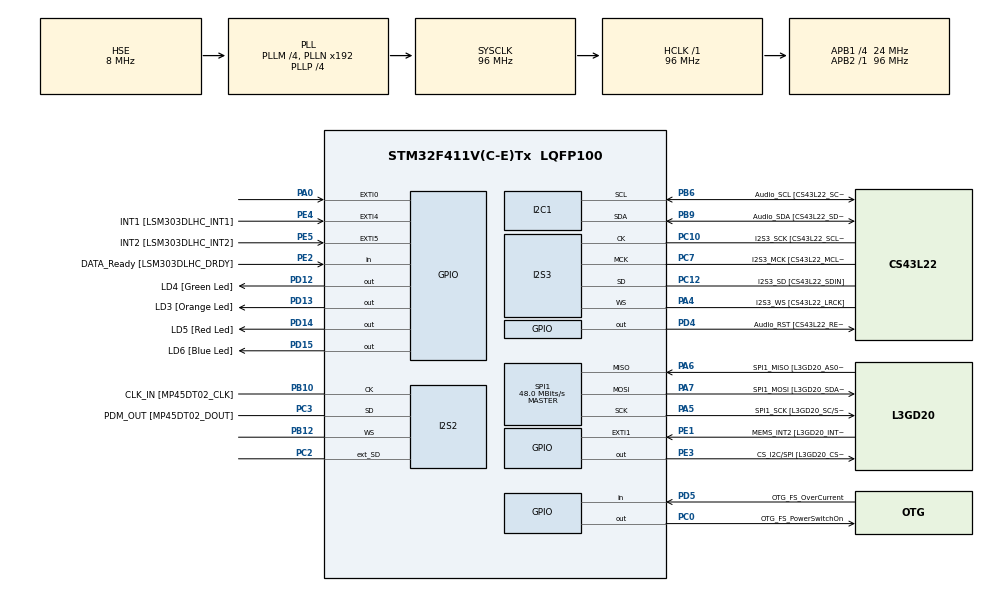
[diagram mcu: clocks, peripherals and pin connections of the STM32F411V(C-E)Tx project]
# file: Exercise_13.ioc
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FREERTOS.Tasks01=GreenTask,0,128,StartGreenTask,Default,NULL,Dynamic,NULL,NULL;RedTask,0,128,StartRedTask,Default,NULL,Dynamic,NULL,NULL;BlueTask,0,128,StartBlueTask,Default,NULL,Dynamic,NULL,NULL
I2S2.AudioFreq=I2S_AUDIOFREQ_96K
I2S2.ErrorAudioFreq=0.15 %
I2S2.FullDuplexMode=I2S_FULLDUPLEXMODE_ENABLE
I2S2.Instance=SPI$Index
I2S2.RealAudioFreq=96.153 KHz
I2S2.VirtualMode=I2S_MODE_MASTER
I2S3.AudioFreq=I2S_AUDIOFREQ_96K
I2S3.ErrorAudioFreq=-6.99 %
I2S3.FullDuplexMode=I2S_FULLDUPLEXMODE_DISABLE
I2S3.Instance=SPI$Index
I2S3.RealAudioFreq=89.285 KHz
I2S3.VirtualMode=I2S_MODE_MASTER
Mcu.Family=STM32F4
Mcu.Name=STM32F411V(C-E)Tx
Mcu.Package=LQFP100
NVIC.PriorityGroup=NVIC_PRIORITYGROUP_4
NVIC.TIM1_UP_TIM10_IRQn=true\:0\:0\:false\:false\:true\:false\:false\:true
NVIC.TimeBase=TIM1_UP_TIM10_IRQn
NVIC.TimeBaseIP=TIM1
PA0-WKUP.GPIO_ModeDefaultEXTI=GPIO_MODE_EVT_RISING
PA0-WKUP.Signal=GPXTI0
PA10.GPIO_Label=OTG_FS_ID
PA10.Signal=USB_OTG_FS_ID
PA11.GPIO_Label=OTG_FS_DM
PA11.Signal=USB_OTG_FS_DM
PA12.GPIO_Label=OTG_FS_DP
PA12.Signal=USB_OTG_FS_DP
PA13.GPIO_Label=SWDIO
PA13.Mode=Serial_Wire
PA13.Signal=SYS_JTMS-SWDIO
PA14.GPIO_Label=SWCLK
PA14.Mode=Serial_Wire
PA14.Signal=SYS_JTCK-SWCLK
PA4.GPIO_Label=I2S3_WS [CS43L22_LRCK]
PA4.GPIO_Mode=GPIO_MODE_AF_PP
PA4.GPIO_PuPd=GPIO_NOPULL
PA4.GPIO_Speed=GPIO_SPEED_FREQ_LOW
PA4.Mode=Half_Duplex_Master
PA4.Signal=I2S3_WS
PA5.GPIO_Label=SPI1_SCK [L3GD20_SC/SPC]
PA5.Mode=Full_Duplex_Master
PA5.Signal=SPI1_SCK
PA6.GPIO_Label=SPI1_MISO [L3GD20_AS0/SDO]
PA6.Mode=Full_Duplex_Master
PA6.Signal=SPI1_MISO
PA7.GPIO_Label=SPI1_MOSI [L3GD20_SDA/SDI/SDO]
PA7.Mode=Full_Duplex_Master
PA7.Signal=SPI1_MOSI
PA9.GPIO_Label=VBUS_FS
PA9.Signal=USB_OTG_FS_VBUS
PB10.GPIO_Label=CLK_IN [MP45DT02_CLK]
PB10.Mode=Full_Duplex_Master
PB10.Signal=I2S2_CK
PB12.Mode=Full_Duplex_Master
PB12.Signal=I2S2_WS
PB3.GPIO_Label=SWO
PB3.Signal=SYS_JTDO-SWO
PB6.GPIO_Label=Audio_SCL [CS43L22_SCL]
PB6.GPIO_Mode=GPIO_MODE_AF_OD
PB6.GPIO_PuPd=GPIO_NOPULL
PB6.GPIO_Speed=GPIO_SPEED_FREQ_LOW
PB6.Mode=I2C
PB6.Signal=I2C1_SCL
PB9.GPIO_Label=Audio_SDA [CS43L22_SDA]
PB9.GPIO_Mode=GPIO_MODE_AF_OD
PB9.GPIO_PuPd=GPIO_NOPULL
PB9.GPIO_Speed=GPIO_SPEED_FREQ_LOW
PB9.Mode=I2C
PB9.Signal=I2C1_SDA
PC0.GPIO_Label=OTG_FS_PowerSwitchOn
PC0.PinState=GPIO_PIN_SET
PC0.Signal=GPIO_Output
PC10.GPIO_Label=I2S3_SCK [CS43L22_SCLK]
PC10.GPIO_Mode=GPIO_MODE_AF_PP
PC10.GPIO_PuPd=GPIO_NOPULL
PC10.GPIO_Speed=GPIO_SPEED_FREQ_LOW
PC10.Mode=Half_Duplex_Master
PC10.Signal=I2S3_CK
PC12.GPIO_Label=I2S3_SD [CS43L22_SDIN]
PC12.GPIO_Mode=GPIO_MODE_AF_PP
PC12.GPIO_PuPd=GPIO_NOPULL
PC12.GPIO_Speed=GPIO_SPEED_FREQ_LOW
PC12.Mode=Half_Duplex_Master
PC12.Signal=I2S3_SD
PC14-OSC32_IN.GPIO_Label=PC14-OSC32_IN
PC14-OSC32_IN.Mode=LSE-External-Oscillator
PC14-OSC32_IN.Signal=RCC_OSC32_IN
PC15-OSC32_OUT.GPIO_Label=PC15-OSC32_OUT
PC15-OSC32_OUT.Mode=LSE-External-Oscillator
PC15-OSC32_OUT.Signal=RCC_OSC32_OUT
PC2.Mode=Full_Duplex_Master
PC2.Signal=I2S2_ext_SD
PC3.GPIO_Label=PDM_OUT [MP45DT02_DOUT]
PC3.Mode=Full_Duplex_Master
PC3.Signal=I2S2_SD
PC7.GPIO_Label=I2S3_MCK [CS43L22_MCLK]
PC7.GPIO_Mode=GPIO_MODE_AF_PP
PC7.GPIO_PuPd=GPIO_NOPULL
PC7.GPIO_Speed=GPIO_SPEED_FREQ_LOW
PC7.Mode=Master_Clock_Activated
PC7.Signal=I2S3_MCK
PD12.GPIO_Label=LD4 [Green Led]
PD12.GPIO_PuPd=GPIO_NOPULL
PD12.GPIO_Speed=GPIO_SPEED_FREQ_LOW
PD12.Signal=GPIO_Output
PD13.GPIO_Label=LD3 [Orange Led]
PD13.GPIO_PuPd=GPIO_NOPULL
PD13.GPIO_Speed=GPIO_SPEED_FREQ_LOW
PD13.Signal=GPIO_Output
PD14.GPIO_Label=LD5 [Red Led]
PD14.GPIO_PuPd=GPIO_NOPULL
PD14.GPIO_Speed=GPIO_SPEED_FREQ_LOW
PD14.Signal=GPIO_Output
PD15.GPIO_Label=LD6 [Blue Led]
PD15.GPIO_PuPd=GPIO_NOPULL
PD15.GPIO_Speed=GPIO_SPEED_FREQ_LOW
PD15.Signal=GPIO_Output
PD4.GPIO_Label=Audio_RST [CS43L22_RESET]
PD4.Signal=GPIO_Output
PD5.GPIO_Label=OTG_FS_OverCurrent
PD5.Signal=GPIO_Input
PE1.GPIO_Label=MEMS_INT2 [L3GD20_INT2]
PE1.GPIO_ModeDefaultEXTI=GPIO_MODE_EVT_RISING
PE1.Signal=GPXTI1
PE2.GPIO_Label=DATA_Ready [LSM303DLHC_DRDY]
PE2.Signal=GPIO_Input
PE3.GPIO_Label=CS_I2C/SPI [L3GD20_CS_I2C/SPI]
PE3.Signal=GPIO_Output
PE4.GPIO_Label=INT1 [LSM303DLHC_INT1]
PE4.GPIO_ModeDefaultEXTI=GPIO_MODE_EVT_RISING
PE4.Signal=GPXTI4
PE5.GPIO_Label=INT2 [LSM303DLHC_INT2]
PE5.GPIO_ModeDefaultEXTI=GPIO_MODE_EVT_RISING
PE5.Signal=GPXTI5
PH0\ -\ OSC_IN.GPIO_Label=PH0-OSC_IN
PH0\ -\ OSC_IN.Mode=HSE-External-Clock-Source
PH0\ -\ OSC_IN.Signal=RCC_OSC_IN
PH1\ -\ OSC_OUT.GPIO_Label=PH1-OSC_OUT
PH1\ -\ OSC_OUT.Mode=HSE-External-Clock-Source
PH1\ -\ OSC_OUT.Signal=RCC_OSC_OUT
ProjectManager.HeapSize=0x200
ProjectManager.StackSize=0x400
ProjectManager.TargetToolchain=STM32CubeIDE
RCC.48MHZClocksFreq_Value=48000000
RCC.AHBFreq_Value=96000000
RCC.APB1CLKDivider=RCC_HCLK_DIV4
RCC.APB1Freq_Value=24000000
RCC.APB1TimFreq_Value=48000000
RCC.APB2Freq_Value=96000000
RCC.APB2TimFreq_Value=96000000
RCC.CortexFreq_Value=96000000
RCC.HCLKFreq_Value=96000000
RCC.HSE_VALUE=8000000
RCC.HSI_VALUE=16000000
RCC.PLLI2SM=5
RCC.PLLI2SN=200
RCC.PLLM=4
RCC.PLLP=RCC_PLLP_DIV4
RCC.PLLQ=8
RCC.PLLSourceVirtual=RCC_PLLSOURCE_HSE
RCC.SYSCLKFreq_VALUE=96000000
RCC.SYSCLKSource=RCC_SYSCLKSOURCE_PLLCLK
RCC.VCOOutputFreq_Value=384000000
SPI1.BaudRatePrescaler=SPI_BAUDRATEPRESCALER_2
SPI1.CalculateBaudRate=48.0 MBits/s
SPI1.Direction=SPI_DIRECTION_2LINES
SPI1.Mode=SPI_MODE_MASTER
SPI1.VirtualType=VM_MASTER
VP_FREERTOS_VS_CMSIS_V1.Mode=CMSIS_V1
VP_SYS_VS_tim1.Mode=TIM1
board=STM32F411E-DISCO

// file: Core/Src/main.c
/* USER CODE BEGIN Header */
/**
  ******************************************************************************
  * @file           : main.c
  * @brief          : Main program body
  ******************************************************************************
  * @attention
  *
  * <h2><center>&copy; Copyright (c) 2023 STMicroelectronics.
  * All rights reserved.</center></h2>
  *
  * This software component is licensed by ST under Ultimate Liberty license
  * SLA0044, the "License"; You may not use this file except in compliance with
  * the License. You may obtain a copy of the License at:
  *                             www.st.com/SLA0044
  *
  ******************************************************************************
  */
/* USER CODE END Header */

#include "main.h"
#include "cmsis_os.h"

/* USER CODE BEGIN Includes */
#include "my_flags.h"
/* USER CODE END Includes */

/* USER CODE BEGIN PD */
#define green GPIO_PIN_12
#define orange GPIO_PIN_13
#define red GPIO_PIN_14
#define blue GPIO_PIN_15
/* USER CODE END PD */

I2C_HandleTypeDef hi2c1;

I2S_HandleTypeDef hi2s2;
I2S_HandleTypeDef hi2s3;

SPI_HandleTypeDef hspi1;

osThreadId GreenTaskHandle;
osThreadId RedTaskHandle;
osThreadId BlueTaskHandle;

void SystemClock_Config(void);
static void MX_GPIO_Init(void);
static void MX_I2C1_Init(void);
static void MX_I2S2_Init(void);
static void MX_I2S3_Init(void);
static void MX_SPI1_Init(void);
void StartGreenTask(void const * argument);
void StartRedTask(void const * argument);
void StartBlueTask(void const * argument);

int main(void)
{

  /* MCU Configuration--------------------------------------------------------*/

  /* Reset of all peripherals, Initializes the Flash interface and the Systick. */
  HAL_Init();

  /* Configure the system clock */
  SystemClock_Config();

  /* Initialize all configured peripherals */
  MX_GPIO_Init();
  MX_I2C1_Init();
  MX_I2S2_Init();
  MX_I2S3_Init();
  MX_SPI1_Init();

  /* Create the thread(s) */
  /* definition and creation of GreenTask */
  osThreadDef(GreenTask, StartGreenTask, osPriorityNormal, 0, 128);
  GreenTaskHandle = osThreadCreate(osThread(GreenTask), NULL);

  /* definition and creation of RedTask */
  osThreadDef(RedTask, StartRedTask, osPriorityNormal, 0, 128);
  RedTaskHandle = osThreadCreate(osThread(RedTask), NULL);

  /* definition and creation of BlueTask */
  osThreadDef(BlueTask, StartBlueTask, osPriorityNormal, 0, 128);
  BlueTaskHandle = osThreadCreate(osThread(BlueTask), NULL);

  /* Start scheduler */
  osKernelStart();

  /* We should never get here as control is now taken by the scheduler */

  /* Infinite loop */
  while (1)
  {

  }
}

void SystemClock_Config(void)
{
  RCC_OscInitTypeDef RCC_OscInitStruct = {0};
  RCC_ClkInitTypeDef RCC_ClkInitStruct = {0};
  RCC_PeriphCLKInitTypeDef PeriphClkInitStruct = {0};

  /** Configure the main internal regulator output voltage
  */
  __HAL_RCC_PWR_CLK_ENABLE();
  __HAL_PWR_VOLTAGESCALING_CONFIG(PWR_REGULATOR_VOLTAGE_SCALE1);
  /** Initializes the CPU, AHB and APB busses clocks
  */
  RCC_OscInitStruct.OscillatorType = RCC_OSCILLATORTYPE_HSE;
  RCC_OscInitStruct.HSEState = RCC_HSE_BYPASS;
  RCC_OscInitStruct.PLL.PLLState = RCC_PLL_ON;
  RCC_OscInitStruct.PLL.PLLSource = RCC_PLLSOURCE_HSE;
  RCC_OscInitStruct.PLL.PLLM = 4;
  RCC_OscInitStruct.PLL.PLLN = 192;
  RCC_OscInitStruct.PLL.PLLP = RCC_PLLP_DIV4;
  RCC_OscInitStruct.PLL.PLLQ = 8;
  if (HAL_RCC_OscConfig(&RCC_OscInitStruct) != HAL_OK)
  {
    Error_Handler();
  }
  /** Initializes the CPU, AHB and APB busses clocks
  */
  RCC_ClkInitStruct.ClockType = RCC_CLOCKTYPE_HCLK|RCC_CLOCKTYPE_SYSCLK
                              |RCC_CLOCKTYPE_PCLK1|RCC_CLOCKTYPE_PCLK2;
  RCC_ClkInitStruct.SYSCLKSource = RCC_SYSCLKSOURCE_PLLCLK;
  RCC_ClkInitStruct.AHBCLKDivider = RCC_SYSCLK_DIV1;
  RCC_ClkInitStruct.APB1CLKDivider = RCC_HCLK_DIV4;
  RCC_ClkInitStruct.APB2CLKDivider = RCC_HCLK_DIV1;

  if (HAL_RCC_ClockConfig(&RCC_ClkInitStruct, FLASH_LATENCY_3) != HAL_OK)
  {
    Error_Handler();
  }
  PeriphClkInitStruct.PeriphClockSelection = RCC_PERIPHCLK_I2S;
  PeriphClkInitStruct.PLLI2S.PLLI2SN = 200;
  PeriphClkInitStruct.PLLI2S.PLLI2SM = 5;
  PeriphClkInitStruct.PLLI2S.PLLI2SR = 2;
  if (HAL_RCCEx_PeriphCLKConfig(&PeriphClkInitStruct) != HAL_OK)
  {
    Error_Handler();
  }
}

static void MX_I2C1_Init(void)
{

  hi2c1.Instance = I2C1;
  hi2c1.Init.ClockSpeed = 100000;
  hi2c1.Init.DutyCycle = I2C_DUTYCYCLE_2;
  hi2c1.Init.OwnAddress1 = 0;
  hi2c1.Init.AddressingMode = I2C_ADDRESSINGMODE_7BIT;
  hi2c1.Init.DualAddressMode = I2C_DUALADDRESS_DISABLE;
  hi2c1.Init.OwnAddress2 = 0;
  hi2c1.Init.GeneralCallMode = I2C_GENERALCALL_DISABLE;
  hi2c1.Init.NoStretchMode = I2C_NOSTRETCH_DISABLE;
  if (HAL_I2C_Init(&hi2c1) != HAL_OK)
  {
    Error_Handler();
  }

}

static void MX_I2S2_Init(void)
{

  hi2s2.Instance = SPI2;
  hi2s2.Init.Mode = I2S_MODE_MASTER_TX;
  hi2s2.Init.Standard = I2S_STANDARD_PHILIPS;
  hi2s2.Init.DataFormat = I2S_DATAFORMAT_16B;
  hi2s2.Init.MCLKOutput = I2S_MCLKOUTPUT_DISABLE;
  hi2s2.Init.AudioFreq = I2S_AUDIOFREQ_96K;
  hi2s2.Init.CPOL = I2S_CPOL_LOW;
  hi2s2.Init.ClockSource = I2S_CLOCK_PLL;
  hi2s2.Init.FullDuplexMode = I2S_FULLDUPLEXMODE_ENABLE;
  if (HAL_I2S_Init(&hi2s2) != HAL_OK)
  {
    Error_Handler();
  }

}

static void MX_I2S3_Init(void)
{

  hi2s3.Instance = SPI3;
  hi2s3.Init.Mode = I2S_MODE_MASTER_TX;
  hi2s3.Init.Standard = I2S_STANDARD_PHILIPS;
  hi2s3.Init.DataFormat = I2S_DATAFORMAT_16B;
  hi2s3.Init.MCLKOutput = I2S_MCLKOUTPUT_ENABLE;
  hi2s3.Init.AudioFreq = I2S_AUDIOFREQ_96K;
  hi2s3.Init.CPOL = I2S_CPOL_LOW;
  hi2s3.Init.ClockSource = I2S_CLOCK_PLL;
  hi2s3.Init.FullDuplexMode = I2S_FULLDUPLEXMODE_DISABLE;
  if (HAL_I2S_Init(&hi2s3) != HAL_OK)
  {
    Error_Handler();
  }

}

static void MX_SPI1_Init(void)
{

  /* SPI1 parameter configuration*/
  hspi1.Instance = SPI1;
  hspi1.Init.Mode = SPI_MODE_MASTER;
  hspi1.Init.Direction = SPI_DIRECTION_2LINES;
  hspi1.Init.DataSize = SPI_DATASIZE_8BIT;
  hspi1.Init.CLKPolarity = SPI_POLARITY_LOW;
  hspi1.Init.CLKPhase = SPI_PHASE_1EDGE;
  hspi1.Init.NSS = SPI_NSS_SOFT;
  hspi1.Init.BaudRatePrescaler = SPI_BAUDRATEPRESCALER_2;
  hspi1.Init.FirstBit = SPI_FIRSTBIT_MSB;
  hspi1.Init.TIMode = SPI_TIMODE_DISABLE;
  hspi1.Init.CRCCalculation = SPI_CRCCALCULATION_DISABLE;
  hspi1.Init.CRCPolynomial = 10;
  if (HAL_SPI_Init(&hspi1) != HAL_OK)
  {
    Error_Handler();
  }

}

static void MX_GPIO_Init(void)
{
  GPIO_InitTypeDef GPIO_InitStruct = {0};

  /* GPIO Ports Clock Enable */
  __HAL_RCC_GPIOE_CLK_ENABLE();
  __HAL_RCC_GPIOC_CLK_ENABLE();
  __HAL_RCC_GPIOH_CLK_ENABLE();
  __HAL_RCC_GPIOA_CLK_ENABLE();
  __HAL_RCC_GPIOB_CLK_ENABLE();
  __HAL_RCC_GPIOD_CLK_ENABLE();

  /*Configure GPIO pin Output Level */
  HAL_GPIO_WritePin(CS_I2C_SPI_GPIO_Port, CS_I2C_SPI_Pin, GPIO_PIN_RESET);

  /*Configure GPIO pin Output Level */
  HAL_GPIO_WritePin(OTG_FS_PowerSwitchOn_GPIO_Port, OTG_FS_PowerSwitchOn_Pin, GPIO_PIN_SET);

  /*Configure GPIO pin Output Level */
  HAL_GPIO_WritePin(GPIOD, LD4_Pin|LD3_Pin|LD5_Pin|LD6_Pin
                          |Audio_RST_Pin, GPIO_PIN_RESET);

  /*Configure GPIO pin : DATA_Ready_Pin */
  GPIO_InitStruct.Pin = DATA_Ready_Pin;
  GPIO_InitStruct.Mode = GPIO_MODE_INPUT;
  GPIO_InitStruct.Pull = GPIO_NOPULL;
  HAL_GPIO_Init(DATA_Ready_GPIO_Port, &GPIO_InitStruct);

  /*Configure GPIO pin : CS_I2C_SPI_Pin */
  GPIO_InitStruct.Pin = CS_I2C_SPI_Pin;
  GPIO_InitStruct.Mode = GPIO_MODE_OUTPUT_PP;
  GPIO_InitStruct.Pull = GPIO_NOPULL;
  GPIO_InitStruct.Speed = GPIO_SPEED_FREQ_LOW;
  HAL_GPIO_Init(CS_I2C_SPI_GPIO_Port, &GPIO_InitStruct);

  /*Configure GPIO pins : INT1_Pin INT2_Pin MEMS_INT2_Pin */
  GPIO_InitStruct.Pin = INT1_Pin|INT2_Pin|MEMS_INT2_Pin;
  GPIO_InitStruct.Mode = GPIO_MODE_EVT_RISING;
  GPIO_InitStruct.Pull = GPIO_NOPULL;
  HAL_GPIO_Init(GPIOE, &GPIO_InitStruct);

  /*Configure GPIO pin : OTG_FS_PowerSwitchOn_Pin */
  GPIO_InitStruct.Pin = OTG_FS_PowerSwitchOn_Pin;
  GPIO_InitStruct.Mode = GPIO_MODE_OUTPUT_PP;
  GPIO_InitStruct.Pull = GPIO_NOPULL;
  GPIO_InitStruct.Speed = GPIO_SPEED_FREQ_LOW;
  HAL_GPIO_Init(OTG_FS_PowerSwitchOn_GPIO_Port, &GPIO_InitStruct);

  /*Configure GPIO pin : PA0 */
  GPIO_InitStruct.Pin = GPIO_PIN_0;
  GPIO_InitStruct.Mode = GPIO_MODE_EVT_RISING;
  GPIO_InitStruct.Pull = GPIO_NOPULL;
  HAL_GPIO_Init(GPIOA, &GPIO_InitStruct);

  /*Configure GPIO pins : LD4_Pin LD3_Pin LD5_Pin LD6_Pin
                           Audio_RST_Pin */
  GPIO_InitStruct.Pin = LD4_Pin|LD3_Pin|LD5_Pin|LD6_Pin
                          |Audio_RST_Pin;
  GPIO_InitStruct.Mode = GPIO_MODE_OUTPUT_PP;
  GPIO_InitStruct.Pull = GPIO_NOPULL;
  GPIO_InitStruct.Speed = GPIO_SPEED_FREQ_LOW;
  HAL_GPIO_Init(GPIOD, &GPIO_InitStruct);

  /*Configure GPIO pin : VBUS_FS_Pin */
  GPIO_InitStruct.Pin = VBUS_FS_Pin;
  GPIO_InitStruct.Mode = GPIO_MODE_INPUT;
  GPIO_InitStruct.Pull = GPIO_NOPULL;
  HAL_GPIO_Init(VBUS_FS_GPIO_Port, &GPIO_InitStruct);

  /*Configure GPIO pins : OTG_FS_ID_Pin OTG_FS_DM_Pin OTG_FS_DP_Pin */
  GPIO_InitStruct.Pin = OTG_FS_ID_Pin|OTG_FS_DM_Pin|OTG_FS_DP_Pin;
  GPIO_InitStruct.Mode = GPIO_MODE_AF_PP;
  GPIO_InitStruct.Pull = GPIO_NOPULL;
  GPIO_InitStruct.Speed = GPIO_SPEED_FREQ_VERY_HIGH;
  GPIO_InitStruct.Alternate = GPIO_AF10_OTG_FS;
  HAL_GPIO_Init(GPIOA, &GPIO_InitStruct);

  /*Configure GPIO pin : OTG_FS_OverCurrent_Pin */
  GPIO_InitStruct.Pin = OTG_FS_OverCurrent_Pin;
  GPIO_InitStruct.Mode = GPIO_MODE_INPUT;
  GPIO_InitStruct.Pull = GPIO_NOPULL;
  HAL_GPIO_Init(OTG_FS_OverCurrent_GPIO_Port, &GPIO_InitStruct);

}

void StartGreenTask(void const * argument)
{
  /* USER CODE BEGIN 5 */
  /* Infinite loop */
  for(;;)
  {
    for(int i = 0; i <= 100; i++) // Flash green led for 10 sec @ 10 Hz
    {
    	HAL_GPIO_WritePin(GPIOD, green, GPIO_PIN_SET);
    	osDelay(50);
    	HAL_GPIO_WritePin(GPIOD, green, GPIO_PIN_RESET);
    	osDelay(50);
    }

    Set_Flag(1); // Set flag1

    for(int i = 0; i <= 10; i++) // Flash green led for 10 sec @ 1 Hz
	{
		HAL_GPIO_WritePin(GPIOD, green, GPIO_PIN_SET);
		osDelay(500);
		HAL_GPIO_WritePin(GPIOD, green, GPIO_PIN_RESET);
		osDelay(500);
	}

    Reset_Flag(1); // Reset flag1

    for(int i = 0; i <= 100; i++) // Flash green led for 10 sec @ 10 Hz
	{
		HAL_GPIO_WritePin(GPIOD, green, GPIO_PIN_SET);
		osDelay(50);
		HAL_GPIO_WritePin(GPIOD, green, GPIO_PIN_RESET);
		osDelay(50);
	}

    vTaskSuspend(NULL);
  }
  /* USER CODE END 5 */
}

void StartRedTask(void const * argument)
{
  /* USER CODE BEGIN StartRedTask */
  /* Infinite loop */
  for(;;)
  {
	for(int i = 0; i <= 150; i++) // Flash red led for 10 sec @ 10 Hz
	{
		HAL_GPIO_WritePin(GPIOD, red, GPIO_PIN_SET);
		osDelay(50);
		HAL_GPIO_WritePin(GPIOD, red, GPIO_PIN_RESET);
		osDelay(50);
	}

	Set_Flag(2); // Set flag2

	for(int i = 0; i <= 10; i++) // Flash red led for 10 sec @ 1 Hz
	{
		HAL_GPIO_WritePin(GPIOD, red, GPIO_PIN_SET);
		osDelay(500);
		HAL_GPIO_WritePin(GPIOD, red, GPIO_PIN_RESET);
		osDelay(500);
	}

	Reset_Flag(2); // Reset flag2

	for(int i = 0; i <= 50; i++) // Flash red led for 10 sec @ 10 Hz
	{
		HAL_GPIO_WritePin(GPIOD, red, GPIO_PIN_SET);
		osDelay(50);
		HAL_GPIO_WritePin(GPIOD, red, GPIO_PIN_RESET);
		osDelay(50);
	}
	vTaskSuspend(NULL);
  }
  /* USER CODE END StartRedTask */
}

void StartBlueTask(void const * argument)
{
  /* USER CODE BEGIN StartBlueTask */
  uint32_t pulse_10Hz, pulse_1Hz, pulse;
  pulse_10Hz = 50;
  pulse_1Hz = 500;
  /* Infinite loop */
  for(;;)
  {
    pulse = pulse_10Hz;
    if(Check_Flag(1) == Set && Check_Flag(2) == Set)
    {
    	pulse = pulse_1Hz;
    }
    HAL_GPIO_WritePin(GPIOD, blue, GPIO_PIN_SET);
	osDelay(pulse);
	HAL_GPIO_WritePin(GPIOD, blue, GPIO_PIN_RESET);
	osDelay(pulse);
  }
  /* USER CODE END StartBlueTask */
}

void HAL_TIM_PeriodElapsedCallback(TIM_HandleTypeDef *htim)
{
  if (htim->Instance == TIM1) {
    HAL_IncTick();
  }
}

void Error_Handler(void)
{
}

/************************ (C) COPYRIGHT STMicroelectronics *****END OF FILE****/
